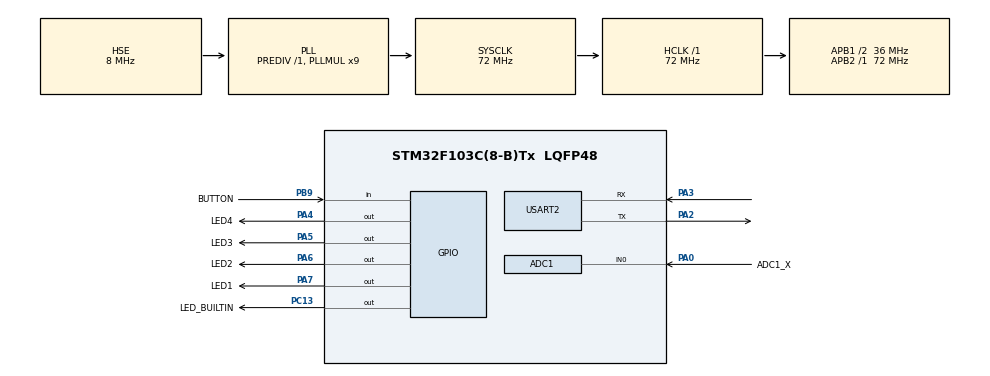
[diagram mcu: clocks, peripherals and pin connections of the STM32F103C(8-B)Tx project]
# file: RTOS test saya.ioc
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ADC1.Channel-0\#ChannelRegularConversion=ADC_CHANNEL_0
ADC1.NbrOfConversionFlag=1
ADC1.Rank-0\#ChannelRegularConversion=1
ADC1.SamplingTime-0\#ChannelRegularConversion=ADC_SAMPLETIME_1CYCLE_5
ADC1.master=1
FREERTOS.Tasks01=defaultTask,24,128,StartDefaultTask,Default,NULL,Dynamic,NULL,NULL;pickButtonTask,24,128,pickButton,Default,NULL,Dynamic,NULL,NULL;getADCTask,32,128,getADC,Default,NULL,Dynamic,NULL,NULL;lampuTASK,24,128,lampu,Default,NULL,Dynamic,NULL,NULL;dispUARTTask,24,128,dispUART,Default,NULL,Dynamic,NULL,NULL
FREERTOS.configTOTAL_HEAP_SIZE=3600
FREERTOS.configUSE_NEWLIB_REENTRANT=1
Mcu.Family=STM32F1
Mcu.Name=STM32F103C(8-B)Tx
Mcu.Package=LQFP48
NVIC.PriorityGroup=NVIC_PRIORITYGROUP_4
NVIC.TIM4_IRQn=true\:15\:0\:false\:false\:true\:false\:false\:true\:true
NVIC.TimeBase=TIM4_IRQn
NVIC.TimeBaseIP=TIM4
PA0-WKUP.GPIO_Label=ADC1_X
PA0-WKUP.Signal=ADCx_IN0
PA13.Mode=Serial_Wire
PA13.Signal=SYS_JTMS-SWDIO
PA14.Mode=Serial_Wire
PA14.Signal=SYS_JTCK-SWCLK
PA2.Mode=Asynchronous
PA2.Signal=USART2_TX
PA3.Mode=Asynchronous
PA3.Signal=USART2_RX
PA4.GPIO_Label=LED4
PA4.Signal=GPIO_Output
PA5.GPIO_Label=LED3
PA5.Signal=GPIO_Output
PA6.GPIO_Label=LED2
PA6.Signal=GPIO_Output
PA7.GPIO_Label=LED1
PA7.Signal=GPIO_Output
PB9.GPIO_Label=BUTTON
PB9.GPIO_PuPd=GPIO_PULLUP
PB9.Signal=GPIO_Input
PC13-TAMPER-RTC.GPIO_Label=LED_BUILTIN
PC13-TAMPER-RTC.Signal=GPIO_Output
PD0-OSC_IN.Mode=HSE-External-Oscillator
PD0-OSC_IN.Signal=RCC_OSC_IN
PD1-OSC_OUT.Mode=HSE-External-Oscillator
PD1-OSC_OUT.Signal=RCC_OSC_OUT
ProjectManager.HeapSize=0x200
ProjectManager.StackSize=0x400
ProjectManager.TargetToolchain=STM32CubeIDE
RCC.ADCPresc=RCC_ADCPCLK2_DIV6
RCC.AHBFreq_Value=72000000
RCC.APB1CLKDivider=RCC_HCLK_DIV2
RCC.APB1Freq_Value=36000000
RCC.APB1TimFreq_Value=72000000
RCC.APB2Freq_Value=72000000
RCC.APB2TimFreq_Value=72000000
RCC.HCLKFreq_Value=72000000
RCC.PLLMUL=RCC_PLL_MUL9
RCC.PLLSourceVirtual=RCC_PLLSOURCE_HSE
RCC.SYSCLKFreq_VALUE=72000000
RCC.SYSCLKSource=RCC_SYSCLKSOURCE_PLLCLK
RCC.USBFreq_Value=72000000
SH.ADCx_IN0.0=ADC1_IN0,IN0
USART2.VirtualMode=VM_ASYNC
VP_FREERTOS_VS_CMSIS_V2.Mode=CMSIS_V2
VP_SYS_VS_tim4.Mode=TIM4
board=custom

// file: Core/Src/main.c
/* USER CODE BEGIN Header */
/**
  ******************************************************************************
 * main.c
 * author:  Jonathan Burkley Rodriguez <superryuboy@yahoo.com>
	for Phipp's Electronics

	SSD1306 code:
 * original author:  Tilen Majerle<tilen@majerle.eu>
 * modification for STM32f10x: Alexander Lutsai<s.lyra@ya.ru>

   ----------------------------------------------------------------------
   	Copyright (C) Alexander Lutsai, 2016
    Copyright (C) Tilen Majerle, 2015

   ----------------------------------------------------------------------

    This program is free software: you can redistribute it and/or modify
    it under the terms of the GNU General Public License as published by
    the Free Software Foundation, either version 3 of the License, or
    any later version.

    This program is distributed in the hope that it will be useful,
    but WITHOUT ANY WARRANTY; without even the implied warranty of
    MERCHANTABILITY or FITNESS FOR A PARTICULAR PURPOSE.  See the
    GNU General Public License for more details.

    You should have received a copy of the GNU General Public License
    along with this program.  If not, see <http://www.gnu.org/licenses/>.
  ******************************************************************************
  */
/* USER CODE END Header */
#include "main.h"
#include "cmsis_os.h"

/* USER CODE BEGIN Includes */
#include <stdio.h>
#include "fonts.h"
#include "ssd1306.h"
//#include "test.h"
#include "bitmap.h"
//#include "horse_anim.h"
/* USER CODE END Includes */

ADC_HandleTypeDef hadc1;

UART_HandleTypeDef huart2;

/* Definitions for defaultTask */
osThreadId_t defaultTaskHandle;
const osThreadAttr_t defaultTask_attributes = {
  .name = "defaultTask",
  .stack_size = 128 * 4,
  .priority = (osPriority_t) osPriorityNormal,
};
/* Definitions for pickButtonTask */
osThreadId_t pickButtonTaskHandle;
const osThreadAttr_t pickButtonTask_attributes = {
  .name = "pickButtonTask",
  .stack_size = 128 * 4,
  .priority = (osPriority_t) osPriorityNormal,
};
/* Definitions for getADCTask */
osThreadId_t getADCTaskHandle;
const osThreadAttr_t getADCTask_attributes = {
  .name = "getADCTask",
  .stack_size = 128 * 4,
  .priority = (osPriority_t) osPriorityAboveNormal,
};
/* Definitions for lampuTASK */
osThreadId_t lampuTASKHandle;
const osThreadAttr_t lampuTASK_attributes = {
  .name = "lampuTASK",
  .stack_size = 128 * 4,
  .priority = (osPriority_t) osPriorityNormal,
};
/* Definitions for dispUARTTask */
osThreadId_t dispUARTTaskHandle;
const osThreadAttr_t dispUARTTask_attributes = {
  .name = "dispUARTTask",
  .stack_size = 128 * 4,
  .priority = (osPriority_t) osPriorityNormal,
};
/* USER CODE BEGIN PV */
int button1_pressed;
uint32_t x_val;
uint8_t choice;
char buffer[50];

/* USER CODE END PV */

void SystemClock_Config(void);
static void MX_GPIO_Init(void);
static void MX_ADC1_Init(void);
static void MX_USART2_UART_Init(void);
void StartDefaultTask(void *argument);
void pickButton(void *argument);
void getADC(void *argument);
void lampu(void *argument);
void dispUART(void *argument);

/* USER CODE BEGIN PFP */
void Light_LED(){
	if(x_val < 4096/4){
			HAL_GPIO_WritePin(LED1_GPIO_Port, LED1_Pin, 1);
			HAL_GPIO_WritePin(LED2_GPIO_Port, LED2_Pin, 0);
			HAL_GPIO_WritePin(LED3_GPIO_Port, LED3_Pin, 0);
			HAL_GPIO_WritePin(LED4_GPIO_Port, LED4_Pin, 0);

		} else if(x_val < 4096*2/4){
			HAL_GPIO_WritePin(LED1_GPIO_Port, LED1_Pin, 1);
			HAL_GPIO_WritePin(LED2_GPIO_Port, LED2_Pin, 1);
			HAL_GPIO_WritePin(LED3_GPIO_Port, LED3_Pin, 0);
			HAL_GPIO_WritePin(LED4_GPIO_Port, LED4_Pin, 0);

		} else if(x_val < 4096*3/4){
			HAL_GPIO_WritePin(LED1_GPIO_Port, LED1_Pin, 1);
			HAL_GPIO_WritePin(LED2_GPIO_Port, LED2_Pin, 1);
			HAL_GPIO_WritePin(LED3_GPIO_Port, LED3_Pin, 1);
			HAL_GPIO_WritePin(LED4_GPIO_Port, LED4_Pin, 0);

		} else{
			HAL_GPIO_WritePin(LED1_GPIO_Port, LED1_Pin, 1);
			HAL_GPIO_WritePin(LED2_GPIO_Port, LED2_Pin, 1);
			HAL_GPIO_WritePin(LED3_GPIO_Port, LED3_Pin, 1);
			HAL_GPIO_WritePin(LED4_GPIO_Port, LED4_Pin, 1);

		}
}

void Tf_LED(){
	HAL_GPIO_WritePin(LED1_GPIO_Port, LED1_Pin, 0);
	HAL_GPIO_WritePin(LED2_GPIO_Port, LED2_Pin, 0);
	HAL_GPIO_WritePin(LED3_GPIO_Port, LED3_Pin, 0);
	HAL_GPIO_WritePin(LED4_GPIO_Port, LED4_Pin, 0);
}

void Menu_Display(){
	char buffer[20] = "_";
	sprintf(buffer, "Voltage = %d\r\n",x_val);
	HAL_UART_Transmit(&huart2, buffer, sizeof(buffer), 20);
}
/* USER CODE END PFP */

int main(void)
{

  /* MCU Configuration--------------------------------------------------------*/

  /* Reset of all peripherals, Initializes the Flash interface and the Systick. */
  HAL_Init();

  /* USER CODE BEGIN Init */

	  // initialise
  /* USER CODE END Init */

  /* Configure the system clock */
  SystemClock_Config();

  /* Initialize all configured peripherals */
  MX_GPIO_Init();
  MX_ADC1_Init();
  MX_USART2_UART_Init();
  /* USER CODE BEGIN 2 */

  HAL_Delay(2000);

  /* USER CODE END 2 */

  /* Init scheduler */
  osKernelInitialize();

  /* Create the thread(s) */
  /* creation of defaultTask */
  defaultTaskHandle = osThreadNew(StartDefaultTask, NULL, &defaultTask_attributes);

  /* creation of pickButtonTask */
  pickButtonTaskHandle = osThreadNew(pickButton, NULL, &pickButtonTask_attributes);

  /* creation of getADCTask */
  getADCTaskHandle = osThreadNew(getADC, NULL, &getADCTask_attributes);

  /* creation of lampuTASK */
  lampuTASKHandle = osThreadNew(lampu, NULL, &lampuTASK_attributes);

  /* creation of dispUARTTask */
  dispUARTTaskHandle = osThreadNew(dispUART, NULL, &dispUARTTask_attributes);

  /* Start scheduler */
  osKernelStart();

  /* We should never get here as control is now taken by the scheduler */

  /* Infinite loop */
  while (1)
  {

  }
}

void SystemClock_Config(void)
{
  RCC_OscInitTypeDef RCC_OscInitStruct = {0};
  RCC_ClkInitTypeDef RCC_ClkInitStruct = {0};
  RCC_PeriphCLKInitTypeDef PeriphClkInit = {0};

  /** Initializes the RCC Oscillators according to the specified parameters
  * in the RCC_OscInitTypeDef structure.
  */
  RCC_OscInitStruct.OscillatorType = RCC_OSCILLATORTYPE_HSE;
  RCC_OscInitStruct.HSEState = RCC_HSE_ON;
  RCC_OscInitStruct.HSEPredivValue = RCC_HSE_PREDIV_DIV1;
  RCC_OscInitStruct.HSIState = RCC_HSI_ON;
  RCC_OscInitStruct.PLL.PLLState = RCC_PLL_ON;
  RCC_OscInitStruct.PLL.PLLSource = RCC_PLLSOURCE_HSE;
  RCC_OscInitStruct.PLL.PLLMUL = RCC_PLL_MUL9;
  if (HAL_RCC_OscConfig(&RCC_OscInitStruct) != HAL_OK)
  {
    Error_Handler();
  }

  /** Initializes the CPU, AHB and APB buses clocks
  */
  RCC_ClkInitStruct.ClockType = RCC_CLOCKTYPE_HCLK|RCC_CLOCKTYPE_SYSCLK
                              |RCC_CLOCKTYPE_PCLK1|RCC_CLOCKTYPE_PCLK2;
  RCC_ClkInitStruct.SYSCLKSource = RCC_SYSCLKSOURCE_PLLCLK;
  RCC_ClkInitStruct.AHBCLKDivider = RCC_SYSCLK_DIV1;
  RCC_ClkInitStruct.APB1CLKDivider = RCC_HCLK_DIV2;
  RCC_ClkInitStruct.APB2CLKDivider = RCC_HCLK_DIV1;

  if (HAL_RCC_ClockConfig(&RCC_ClkInitStruct, FLASH_LATENCY_2) != HAL_OK)
  {
    Error_Handler();
  }
  PeriphClkInit.PeriphClockSelection = RCC_PERIPHCLK_ADC;
  PeriphClkInit.AdcClockSelection = RCC_ADCPCLK2_DIV6;
  if (HAL_RCCEx_PeriphCLKConfig(&PeriphClkInit) != HAL_OK)
  {
    Error_Handler();
  }
}

static void MX_ADC1_Init(void)
{

  ADC_ChannelConfTypeDef sConfig = {0};

  /** Common config
  */
  hadc1.Instance = ADC1;
  hadc1.Init.ScanConvMode = ADC_SCAN_DISABLE;
  hadc1.Init.ContinuousConvMode = DISABLE;
  hadc1.Init.DiscontinuousConvMode = DISABLE;
  hadc1.Init.ExternalTrigConv = ADC_SOFTWARE_START;
  hadc1.Init.DataAlign = ADC_DATAALIGN_RIGHT;
  hadc1.Init.NbrOfConversion = 1;
  if (HAL_ADC_Init(&hadc1) != HAL_OK)
  {
    Error_Handler();
  }

  /** Configure Regular Channel
  */
  sConfig.Channel = ADC_CHANNEL_0;
  sConfig.Rank = ADC_REGULAR_RANK_1;
  sConfig.SamplingTime = ADC_SAMPLETIME_1CYCLE_5;
  if (HAL_ADC_ConfigChannel(&hadc1, &sConfig) != HAL_OK)
  {
    Error_Handler();
  }

}

static void MX_USART2_UART_Init(void)
{

  huart2.Instance = USART2;
  huart2.Init.BaudRate = 115200;
  huart2.Init.WordLength = UART_WORDLENGTH_8B;
  huart2.Init.StopBits = UART_STOPBITS_1;
  huart2.Init.Parity = UART_PARITY_NONE;
  huart2.Init.Mode = UART_MODE_TX_RX;
  huart2.Init.HwFlowCtl = UART_HWCONTROL_NONE;
  huart2.Init.OverSampling = UART_OVERSAMPLING_16;
  if (HAL_UART_Init(&huart2) != HAL_OK)
  {
    Error_Handler();
  }

}

static void MX_GPIO_Init(void)
{
  GPIO_InitTypeDef GPIO_InitStruct = {0};

  /* GPIO Ports Clock Enable */
  __HAL_RCC_GPIOC_CLK_ENABLE();
  __HAL_RCC_GPIOD_CLK_ENABLE();
  __HAL_RCC_GPIOA_CLK_ENABLE();
  __HAL_RCC_GPIOB_CLK_ENABLE();

  /*Configure GPIO pin Output Level */
  HAL_GPIO_WritePin(LED_BUILTIN_GPIO_Port, LED_BUILTIN_Pin, GPIO_PIN_RESET);

  /*Configure GPIO pin Output Level */
  HAL_GPIO_WritePin(GPIOA, LED4_Pin|LED3_Pin|LED2_Pin|LED1_Pin, GPIO_PIN_RESET);

  /*Configure GPIO pin : LED_BUILTIN_Pin */
  GPIO_InitStruct.Pin = LED_BUILTIN_Pin;
  GPIO_InitStruct.Mode = GPIO_MODE_OUTPUT_PP;
  GPIO_InitStruct.Pull = GPIO_NOPULL;
  GPIO_InitStruct.Speed = GPIO_SPEED_FREQ_LOW;
  HAL_GPIO_Init(LED_BUILTIN_GPIO_Port, &GPIO_InitStruct);

  /*Configure GPIO pins : LED4_Pin LED3_Pin LED2_Pin LED1_Pin */
  GPIO_InitStruct.Pin = LED4_Pin|LED3_Pin|LED2_Pin|LED1_Pin;
  GPIO_InitStruct.Mode = GPIO_MODE_OUTPUT_PP;
  GPIO_InitStruct.Pull = GPIO_NOPULL;
  GPIO_InitStruct.Speed = GPIO_SPEED_FREQ_LOW;
  HAL_GPIO_Init(GPIOA, &GPIO_InitStruct);

  /*Configure GPIO pin : BUTTON_Pin */
  GPIO_InitStruct.Pin = BUTTON_Pin;
  GPIO_InitStruct.Mode = GPIO_MODE_INPUT;
  GPIO_InitStruct.Pull = GPIO_PULLUP;
  HAL_GPIO_Init(BUTTON_GPIO_Port, &GPIO_InitStruct);

}

void StartDefaultTask(void *argument)
{
  /* USER CODE BEGIN 5 */
  /* Infinite loop */
  for(;;)
  {
	  HAL_GPIO_TogglePin(LED_BUILTIN_GPIO_Port, LED_BUILTIN_Pin);
    osDelay(300);
  }
  /* USER CODE END 5 */
}

void pickButton(void *argument)
{
  /* USER CODE BEGIN pickButton */
  /* Infinite loop */
  for(;;)
  {

	  if(HAL_GPIO_ReadPin(BUTTON_GPIO_Port, BUTTON_Pin) == GPIO_PIN_RESET)
	  	  {
	  		  osDelay(300);	// debounce
	  		  button1_pressed = 1;
	  	  }
	  	  else button1_pressed = 0;

//	  if(HAL_GPIO_ReadPin(Button2_GPIO_Port, Button2_Pin) == GPIO_PIN_RESET)
//	  {
//		  osDelay(300);	// debounce
//		  button2_pressed = 1;
//	  }

    osDelay(100);
  }
  /* USER CODE END pickButton */
}

void getADC(void *argument)
{
  /* USER CODE BEGIN getADC */
  /* Infinite loop */
  for(;;)
  {

	  HAL_ADC_Start(&hadc1);
	  HAL_ADC_PollForConversion(&hadc1, 10);
	  x_val = (HAL_ADC_GetValue(&hadc1));
	  HAL_ADC_Stop(&hadc1);

	  // process ADC values here

    osDelay(100);
  }
  /* USER CODE END getADC */
}

void lampu(void *argument)
{
  /* USER CODE BEGIN lampu */
  /* Infinite loop */
	while(1)
	  {
		  if(button1_pressed == 1){
				Light_LED();
				osDelay(300);
				Tf_LED();
				osDelay(300);
			}
			else Light_LED();
	  }
  /* USER CODE END lampu */
}

void dispUART(void *argument)
{
  /* USER CODE BEGIN dispUART */
  /* Infinite loop */
	Menu_Display();
	char buffer[20] = "_";

	  for(;;)
	  {
		  // select user input
		  if (HAL_UART_Receive(&huart2, &choice, sizeof(choice), 10) == HAL_OK)
		  {
			switch (choice) {

				case '1':
					//HAL_UART_Transmit(&huart2, (uint8_t*)"2 pressed\r\n", sizeof("1 pressed\r\n"), 10);
					sprintf(buffer, "Voltage = %d\r\n",x_val);
					HAL_UART_Transmit(&huart2, buffer, sizeof(buffer), 20);
					break;
				case '2':
					Menu_Display();
					break;
				default:
					break;
			}
		  }else{

		  }

		  if(button1_pressed)
		  {
			  HAL_UART_Transmit(&huart2, (uint8_t*)"Button1 pressed\r\n", sizeof("Button1 pressed\r\n"), 10);
//			  button1_pressed = 0;
		  }

	//		  if(button2_pressed)
	//		  {
	//			  HAL_UART_Transmit(&huart2, (uint8_t*)"Button2 pressed\r\n", sizeof("Button2 pressed\r\n"), 10);
	//			  button2_pressed = 0;
	//		  }

		osDelay(100);
	  }
  /* USER CODE END dispUART */
}

void HAL_TIM_PeriodElapsedCallback(TIM_HandleTypeDef *htim)
{
  if (htim->Instance == TIM4) {
    HAL_IncTick();
  }
}

void Error_Handler(void)
{
  __disable_irq();
  while (1)
  {
  }
}
